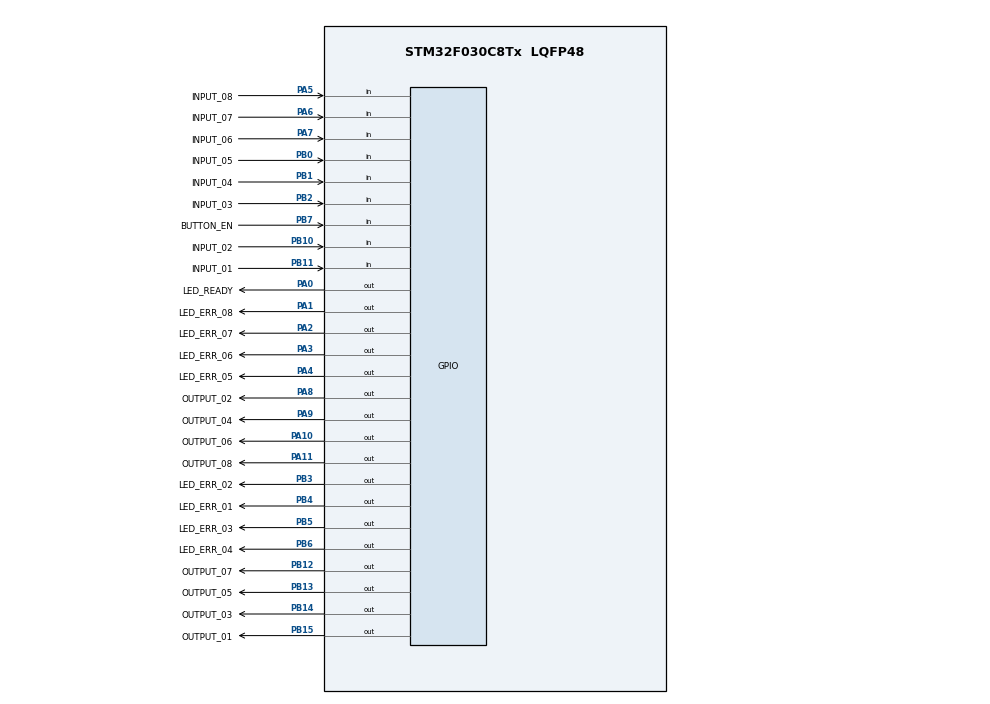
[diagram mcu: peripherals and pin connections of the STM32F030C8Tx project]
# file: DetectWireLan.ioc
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Mcu.Family=STM32F0
Mcu.Name=STM32F030C8Tx
Mcu.Package=LQFP48
PA0.GPIO_Label=LED_READY
PA0.GPIO_PuPd=GPIO_PULLDOWN
PA0.PinState=GPIO_PIN_RESET
PA0.Signal=GPIO_Output
PA1.GPIO_Label=LED_ERR_08
PA1.GPIO_PuPd=GPIO_PULLDOWN
PA1.PinState=GPIO_PIN_SET
PA1.Signal=GPIO_Output
PA10.GPIO_Label=OUTPUT_06
PA10.GPIO_PuPd=GPIO_PULLUP
PA10.PinState=GPIO_PIN_SET
PA10.Signal=GPIO_Output
PA11.GPIO_Label=OUTPUT_08
PA11.GPIO_PuPd=GPIO_PULLUP
PA11.PinState=GPIO_PIN_SET
PA11.Signal=GPIO_Output
PA13.Mode=Serial_Wire
PA13.Signal=SYS_SWDIO
PA14.Mode=Serial_Wire
PA14.Signal=SYS_SWCLK
PA2.GPIO_Label=LED_ERR_07
PA2.GPIO_PuPd=GPIO_PULLDOWN
PA2.PinState=GPIO_PIN_SET
PA2.Signal=GPIO_Output
PA3.GPIO_Label=LED_ERR_06
PA3.GPIO_PuPd=GPIO_PULLDOWN
PA3.PinState=GPIO_PIN_SET
PA3.Signal=GPIO_Output
PA4.GPIO_Label=LED_ERR_05
PA4.GPIO_PuPd=GPIO_PULLDOWN
PA4.PinState=GPIO_PIN_SET
PA4.Signal=GPIO_Output
PA5.GPIO_Label=INPUT_08
PA5.GPIO_PuPd=GPIO_PULLUP
PA5.Signal=GPIO_Input
PA6.GPIO_Label=INPUT_07
PA6.GPIO_PuPd=GPIO_PULLUP
PA6.Signal=GPIO_Input
PA7.GPIO_Label=INPUT_06
PA7.GPIO_PuPd=GPIO_PULLUP
PA7.Signal=GPIO_Input
PA8.GPIO_Label=OUTPUT_02
PA8.GPIO_PuPd=GPIO_PULLUP
PA8.PinState=GPIO_PIN_SET
PA8.Signal=GPIO_Output
PA9.GPIO_Label=OUTPUT_04
PA9.GPIO_PuPd=GPIO_PULLUP
PA9.PinState=GPIO_PIN_SET
PA9.Signal=GPIO_Output
PB0.GPIO_Label=INPUT_05
PB0.GPIO_PuPd=GPIO_PULLUP
PB0.Signal=GPIO_Input
PB1.GPIO_Label=INPUT_04
PB1.GPIO_PuPd=GPIO_PULLUP
PB1.Signal=GPIO_Input
PB10.GPIO_Label=INPUT_02
PB10.GPIO_PuPd=GPIO_PULLUP
PB10.Signal=GPIO_Input
PB11.GPIO_Label=INPUT_01
PB11.GPIO_PuPd=GPIO_PULLUP
PB11.Signal=GPIO_Input
PB12.GPIO_Label=OUTPUT_07
PB12.GPIO_PuPd=GPIO_PULLUP
PB12.PinState=GPIO_PIN_SET
PB12.Signal=GPIO_Output
PB13.GPIO_Label=OUTPUT_05
PB13.GPIO_PuPd=GPIO_PULLUP
PB13.PinState=GPIO_PIN_SET
PB13.Signal=GPIO_Output
PB14.GPIO_Label=OUTPUT_03
PB14.GPIO_ModeDefaultOutputPP=GPIO_MODE_OUTPUT_PP
PB14.GPIO_PuPd=GPIO_PULLUP
PB14.PinState=GPIO_PIN_SET
PB14.Signal=GPIO_Output
PB15.GPIO_Label=OUTPUT_01
PB15.GPIO_PuPd=GPIO_PULLUP
PB15.PinState=GPIO_PIN_SET
PB15.Signal=GPIO_Output
PB2.GPIO_Label=INPUT_03
PB2.GPIO_PuPd=GPIO_PULLUP
PB2.Signal=GPIO_Input
PB3.GPIO_Label=LED_ERR_02
PB3.GPIO_PuPd=GPIO_PULLDOWN
PB3.PinState=GPIO_PIN_SET
PB3.Signal=GPIO_Output
PB4.GPIO_Label=LED_ERR_01
PB4.GPIO_PuPd=GPIO_PULLDOWN
PB4.PinState=GPIO_PIN_SET
PB4.Signal=GPIO_Output
PB5.GPIO_Label=LED_ERR_03
PB5.GPIO_PuPd=GPIO_PULLDOWN
PB5.PinState=GPIO_PIN_SET
PB5.Signal=GPIO_Output
PB6.GPIO_Label=LED_ERR_04
PB6.GPIO_PuPd=GPIO_PULLDOWN
PB6.PinState=GPIO_PIN_SET
PB6.Signal=GPIO_Output
PB7.GPIO_Label=BUTTON_EN
PB7.GPIO_PuPd=GPIO_PULLUP
PB7.Signal=GPIO_Input
ProjectManager.HeapSize=0x200
ProjectManager.StackSize=0x400
ProjectManager.TargetToolchain=STM32CubeIDE
board=custom

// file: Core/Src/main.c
/* USER CODE BEGIN Header */
/**
 ******************************************************************************
 * @file           : main.c
 * @brief          : Main program body
 ******************************************************************************
 * @attention
 *
 * Copyright (c) 2022 STMicroelectronics.
 * All rights reserved.
 *
 * This software is licensed under terms that can be found in the LICENSE file
 * in the root directory of this software component.
 * If no LICENSE file comes with this software, it is provided AS-IS.
 *
 ******************************************************************************
 */
/* USER CODE END Header */
#include "main.h"

void SystemClock_Config(void);
static void MX_GPIO_Init(void);

/* USER CODE BEGIN 0 */

// INPUT
uint8_t input_08(void) { return HAL_GPIO_ReadPin(INPUT_08_GPIO_Port, INPUT_08_Pin); }
uint8_t input_07(void) { return HAL_GPIO_ReadPin(INPUT_07_GPIO_Port, INPUT_07_Pin); }
uint8_t input_06(void) { return HAL_GPIO_ReadPin(INPUT_06_GPIO_Port, INPUT_06_Pin); }
uint8_t input_05(void) { return HAL_GPIO_ReadPin(INPUT_05_GPIO_Port, INPUT_05_Pin); }
uint8_t input_04(void) { return HAL_GPIO_ReadPin(INPUT_04_GPIO_Port, INPUT_04_Pin); }
uint8_t input_03(void) { return HAL_GPIO_ReadPin(INPUT_03_GPIO_Port, INPUT_03_Pin); }
uint8_t input_02(void) { return HAL_GPIO_ReadPin(INPUT_02_GPIO_Port, INPUT_02_Pin); }
uint8_t input_01(void) { return HAL_GPIO_ReadPin(INPUT_01_GPIO_Port, INPUT_01_Pin); }

// OUTPUT
void output_08(uint8_t val) { HAL_GPIO_WritePin(OUTPUT_08_GPIO_Port, OUTPUT_08_Pin, val); }
void output_07(uint8_t val) { HAL_GPIO_WritePin(OUTPUT_07_GPIO_Port, OUTPUT_07_Pin, val); }
void output_06(uint8_t val) { HAL_GPIO_WritePin(OUTPUT_06_GPIO_Port, OUTPUT_06_Pin, val); }
void output_05(uint8_t val) { HAL_GPIO_WritePin(OUTPUT_05_GPIO_Port, OUTPUT_05_Pin, val); }
void output_04(uint8_t val) { HAL_GPIO_WritePin(OUTPUT_04_GPIO_Port, OUTPUT_04_Pin, val); }
void output_03(uint8_t val) { HAL_GPIO_WritePin(OUTPUT_03_GPIO_Port, OUTPUT_03_Pin, val); }
void output_02(uint8_t val) { HAL_GPIO_WritePin(OUTPUT_02_GPIO_Port, OUTPUT_02_Pin, val); }
void output_01(uint8_t val) { HAL_GPIO_WritePin(OUTPUT_01_GPIO_Port, OUTPUT_01_Pin, val); }

// LED ERROR
void led_err_08(uint8_t val) { HAL_GPIO_WritePin(LED_ERR_08_GPIO_Port, LED_ERR_08_Pin, val); }
void led_err_07(uint8_t val) { HAL_GPIO_WritePin(LED_ERR_07_GPIO_Port, LED_ERR_07_Pin, val); }
void led_err_06(uint8_t val) { HAL_GPIO_WritePin(LED_ERR_06_GPIO_Port, LED_ERR_06_Pin, val); }
void led_err_05(uint8_t val) { HAL_GPIO_WritePin(LED_ERR_05_GPIO_Port, LED_ERR_05_Pin, val); }
void led_err_04(uint8_t val) { HAL_GPIO_WritePin(LED_ERR_04_GPIO_Port, LED_ERR_04_Pin, val); }
void led_err_03(uint8_t val) { HAL_GPIO_WritePin(LED_ERR_03_GPIO_Port, LED_ERR_03_Pin, val); }
void led_err_02(uint8_t val) { HAL_GPIO_WritePin(LED_ERR_02_GPIO_Port, LED_ERR_02_Pin, val); }
void led_err_01(uint8_t val) { HAL_GPIO_WritePin(LED_ERR_01_GPIO_Port, LED_ERR_01_Pin, val); }

// LED READY
void led_ready(uint8_t val) { HAL_GPIO_WritePin(LED_READY_GPIO_Port, LED_READY_Pin, val); }

// BUTTON ENABLE
uint8_t button_en() { return (uint8_t)HAL_GPIO_ReadPin(BUTTON_EN_GPIO_Port, BUTTON_EN_Pin); }

// function pointer
typedef uint8_t (*pInput)(void);
typedef void (*pOutput)(uint8_t val);
pInput inputArray[] = {input_08, input_07, input_06, input_05, input_04, input_03, input_02, input_01};
pOutput outputArray[] = {output_08, output_07, output_06, output_05, output_04, output_03, output_02, output_01};
pOutput ledErrArray[] = {led_err_08, led_err_07, led_err_06, led_err_05, led_err_04, led_err_03, led_err_02, led_err_01};

// flag check ready
uint8_t checkReady = 0;
/* USER CODE END 0 */

int main(void)
{

  /* MCU Configuration--------------------------------------------------------*/

  /* Reset of all peripherals, Initializes the Flash interface and the Systick. */
  HAL_Init();

  /* Configure the system clock */
  SystemClock_Config();

  /* Initialize all configured peripherals */
  MX_GPIO_Init();

  /* Infinite loop */
  while (1)
  {

    /* USER CODE BEGIN 3 */
    // while (button_en());

    checkReady = 0;
    for (uint8_t i = 0; i < 8; i++)
    {
      outputArray[i](0);
      HAL_Delay(1);

      if (inputArray[i]() != 0)
      {
        checkReady++;
        ledErrArray[i](0);
      }
      else
        ledErrArray[i](1);
      outputArray[i](1);
    }

    // check and turn on/off led ready
    if (checkReady != 0)
      led_ready(1);
    else
      led_ready(0);
  }
  /* USER CODE END 3 */
}

void SystemClock_Config(void)
{
  RCC_OscInitTypeDef RCC_OscInitStruct = {0};
  RCC_ClkInitTypeDef RCC_ClkInitStruct = {0};

  /** Initializes the RCC Oscillators according to the specified parameters
   * in the RCC_OscInitTypeDef structure.
   */
  RCC_OscInitStruct.OscillatorType = RCC_OSCILLATORTYPE_HSI;
  RCC_OscInitStruct.HSIState = RCC_HSI_ON;
  RCC_OscInitStruct.HSICalibrationValue = RCC_HSICALIBRATION_DEFAULT;
  RCC_OscInitStruct.PLL.PLLState = RCC_PLL_NONE;
  if (HAL_RCC_OscConfig(&RCC_OscInitStruct) != HAL_OK)
  {
    Error_Handler();
  }

  /** Initializes the CPU, AHB and APB buses clocks
   */
  RCC_ClkInitStruct.ClockType = RCC_CLOCKTYPE_HCLK | RCC_CLOCKTYPE_SYSCLK | RCC_CLOCKTYPE_PCLK1;
  RCC_ClkInitStruct.SYSCLKSource = RCC_SYSCLKSOURCE_HSI;
  RCC_ClkInitStruct.AHBCLKDivider = RCC_SYSCLK_DIV1;
  RCC_ClkInitStruct.APB1CLKDivider = RCC_HCLK_DIV1;

  if (HAL_RCC_ClockConfig(&RCC_ClkInitStruct, FLASH_LATENCY_0) != HAL_OK)
  {
    Error_Handler();
  }
}

static void MX_GPIO_Init(void)
{
  GPIO_InitTypeDef GPIO_InitStruct = {0};

  /* GPIO Ports Clock Enable */
  __HAL_RCC_GPIOA_CLK_ENABLE();
  __HAL_RCC_GPIOB_CLK_ENABLE();

  /*Configure GPIO pin Output Level */
  HAL_GPIO_WritePin(LED_READY_GPIO_Port, LED_READY_Pin, GPIO_PIN_RESET);

  /*Configure GPIO pin Output Level */
  HAL_GPIO_WritePin(GPIOA, LED_ERR_08_Pin | LED_ERR_07_Pin | LED_ERR_06_Pin | LED_ERR_05_Pin | OUTPUT_02_Pin | OUTPUT_04_Pin | OUTPUT_06_Pin | OUTPUT_08_Pin, GPIO_PIN_SET);

  /*Configure GPIO pin Output Level */
  HAL_GPIO_WritePin(GPIOB, OUTPUT_07_Pin | OUTPUT_05_Pin | OUTPUT_03_Pin | OUTPUT_01_Pin | LED_ERR_02_Pin | LED_ERR_01_Pin | LED_ERR_03_Pin | LED_ERR_04_Pin, GPIO_PIN_SET);

  /*Configure GPIO pins : LED_READY_Pin LED_ERR_08_Pin LED_ERR_07_Pin LED_ERR_06_Pin
                           LED_ERR_05_Pin */
  GPIO_InitStruct.Pin = LED_READY_Pin | LED_ERR_08_Pin | LED_ERR_07_Pin | LED_ERR_06_Pin | LED_ERR_05_Pin;
  GPIO_InitStruct.Mode = GPIO_MODE_OUTPUT_PP;
  GPIO_InitStruct.Pull = GPIO_PULLDOWN;
  GPIO_InitStruct.Speed = GPIO_SPEED_FREQ_LOW;
  HAL_GPIO_Init(GPIOA, &GPIO_InitStruct);

  /*Configure GPIO pins : INPUT_08_Pin INPUT_07_Pin INPUT_06_Pin */
  GPIO_InitStruct.Pin = INPUT_08_Pin | INPUT_07_Pin | INPUT_06_Pin;
  GPIO_InitStruct.Mode = GPIO_MODE_INPUT;
  GPIO_InitStruct.Pull = GPIO_PULLUP;
  HAL_GPIO_Init(GPIOA, &GPIO_InitStruct);

  /*Configure GPIO pins : INPUT_05_Pin INPUT_04_Pin INPUT_03_Pin INPUT_02_Pin
                           INPUT_01_Pin BUTTON_EN_Pin */
  GPIO_InitStruct.Pin = INPUT_05_Pin | INPUT_04_Pin | INPUT_03_Pin | INPUT_02_Pin | INPUT_01_Pin | BUTTON_EN_Pin;
  GPIO_InitStruct.Mode = GPIO_MODE_INPUT;
  GPIO_InitStruct.Pull = GPIO_PULLUP;
  HAL_GPIO_Init(GPIOB, &GPIO_InitStruct);

  /*Configure GPIO pins : OUTPUT_07_Pin OUTPUT_05_Pin OUTPUT_03_Pin OUTPUT_01_Pin */
  GPIO_InitStruct.Pin = OUTPUT_07_Pin | OUTPUT_05_Pin | OUTPUT_03_Pin | OUTPUT_01_Pin;
  GPIO_InitStruct.Mode = GPIO_MODE_OUTPUT_PP;
  GPIO_InitStruct.Pull = GPIO_PULLUP;
  GPIO_InitStruct.Speed = GPIO_SPEED_FREQ_LOW;
  HAL_GPIO_Init(GPIOB, &GPIO_InitStruct);

  /*Configure GPIO pins : OUTPUT_02_Pin OUTPUT_04_Pin OUTPUT_06_Pin OUTPUT_08_Pin */
  GPIO_InitStruct.Pin = OUTPUT_02_Pin | OUTPUT_04_Pin | OUTPUT_06_Pin | OUTPUT_08_Pin;
  GPIO_InitStruct.Mode = GPIO_MODE_OUTPUT_PP;
  GPIO_InitStruct.Pull = GPIO_PULLUP;
  GPIO_InitStruct.Speed = GPIO_SPEED_FREQ_LOW;
  HAL_GPIO_Init(GPIOA, &GPIO_InitStruct);

  /*Configure GPIO pins : LED_ERR_02_Pin LED_ERR_01_Pin LED_ERR_03_Pin LED_ERR_04_Pin */
  GPIO_InitStruct.Pin = LED_ERR_02_Pin | LED_ERR_01_Pin | LED_ERR_03_Pin | LED_ERR_04_Pin;
  GPIO_InitStruct.Mode = GPIO_MODE_OUTPUT_PP;
  GPIO_InitStruct.Pull = GPIO_PULLDOWN;
  GPIO_InitStruct.Speed = GPIO_SPEED_FREQ_LOW;
  HAL_GPIO_Init(GPIOB, &GPIO_InitStruct);
}

void Error_Handler(void)
{
  __disable_irq();
  while (1)
  {
  }
}
